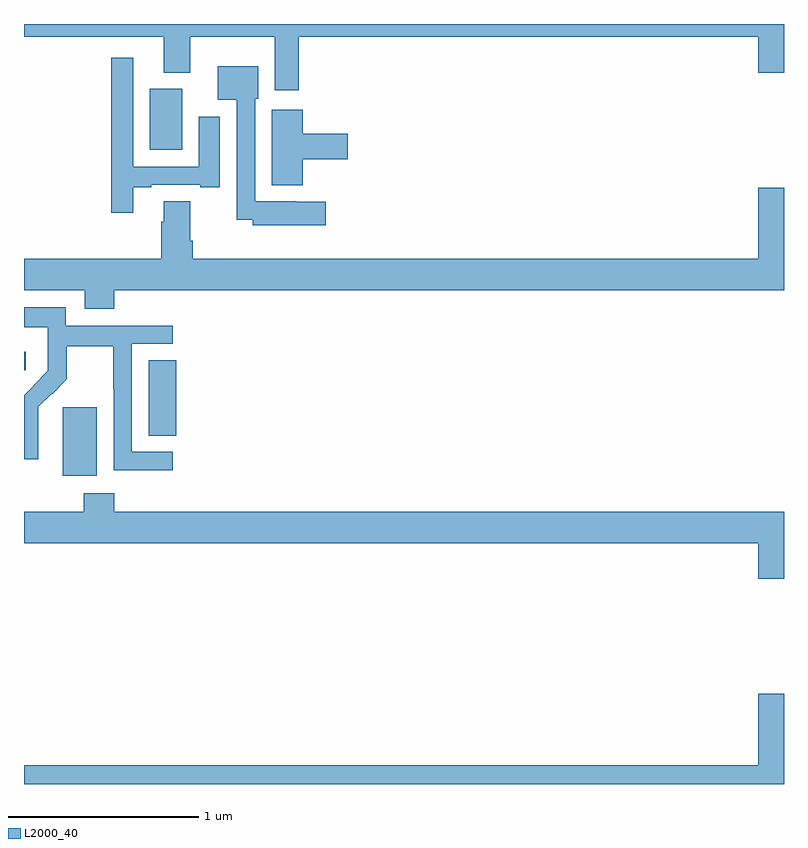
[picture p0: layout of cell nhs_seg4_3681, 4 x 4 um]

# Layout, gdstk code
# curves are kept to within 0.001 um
import gdstk
lib = gdstk.Library(unit=1e-6, precision=1e-09)
def R(c, l, rs):  # rectangles x0, y0, x1, y1
    for r in rs: c.add(gdstk.rectangle(r[:2], r[2:], *l))
def P(c, l, *ps):  # polygons
    for p in ps: c.add(gdstk.Polygon(p, *l))
L2000_40 = (2000, 40)

nhs_seg4_3681 = lib.new_cell('nhs_seg4_3681')
R(nhs_seg4_3681, L2000_40, [(305.204,782.522,305.383,782.883), (305.657,782.734,305.801,783.131), (305,783.078,305.008,783.175), (305.663,784.238,305.833,784.558)])
P(nhs_seg4_3681, L2000_40, [(306.446,784.832),(308.864,784.832),(308.864,784.644),(309,784.644),(309,784.9),(305,784.9),(305,784.832),(305.735,784.832),(305.735,784.643),(305.875,784.643),(305.875,784.832),(306.32,784.832),(306.32,784.551),(306.446,784.551)],
  [(305.575,784.041),(305.671,784.041),(305.671,784.053),(305.927,784.053),(305.927,784.041),(306.031,784.041),(306.031,784.411),(305.921,784.411),(305.921,784.149),(305.574,784.149),(305.574,784.723),(305.458,784.723),(305.458,783.906),(305.575,783.906)],
  [(306.589,783.964),(306.432,783.964),(306.432,783.966),(306.216,783.966),(306.216,784.506),(306.232,784.506),(306.232,784.678),(306.02,784.678),(306.02,784.502),(306.12,784.502),(306.12,783.869),(306.204,783.869),(306.204,783.842),(306.589,783.842)],
  [(306.467,784.187),(306.703,784.187),(306.703,784.322),(306.467,784.322),(306.467,784.45),(306.305,784.45),(306.305,784.052),(306.467,784.052)],
  [(305.474,783.5),(309,783.5),(309,784.039),(308.864,784.039),(308.864,783.664),(305.888,783.664),(305.888,783.76),(305.875,783.76),(305.875,783.968),(305.735,783.968),(305.735,783.86),(305.723,783.86),(305.723,783.664),(305,783.664),(305,783.5),(305.321,783.5),(305.321,783.401),(305.474,783.401)],
  [(305.782,782.649),(305.568,782.649),(305.568,783.216),(305.782,783.216),(305.782,783.312),(305.22,783.312),(305.22,783.409),(305,783.409),(305,783.305),(305.124,783.305),(305.124,783.171),(305.126,783.171),(305.126,783.074),(305,782.946),(305,782.608),(305.076,782.608),(305.075,782.885),(305.145,782.955),(305.148,782.952),(305.225,783.029),(305.225,783.204),(305.47,783.204),(305.47,782.98),(305.472,782.98),(305.472,782.551),(305.782,782.551)],
  [(309,782.332),(305.474,782.332),(305.474,782.431),(305.314,782.431),(305.314,782.332),(305,782.332),(305,782.168),(308.864,782.168),(308.864,781.98),(309,781.98)],
  [(309,781.375),(308.864,781.375),(308.864,781),(305,781),(305,780.9),(309,780.9)])

lib.write_gds('nhs_seg4_3681.gds')
